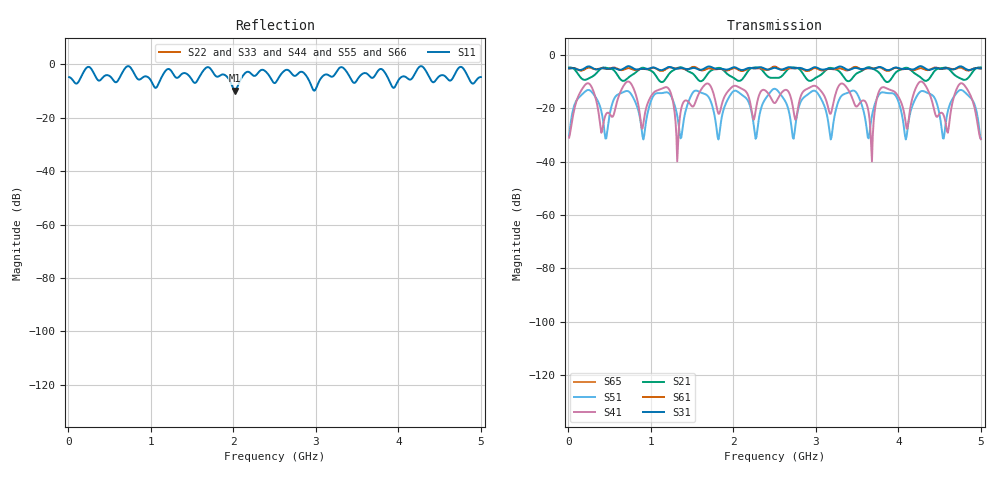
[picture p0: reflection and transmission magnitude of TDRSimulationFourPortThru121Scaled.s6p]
# MHz MA S R 50.0
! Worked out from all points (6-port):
!   500 points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, 10 MHz to 5 GHz, reference 50 ohm
!   strongest paths, dB at 10 MHz, 1.26 GHz, 2.51 GHz, 3.76 GHz, 5 GHz:
!     S31: -5.1, -4.9, -4.9, -4.6, -5.2
!     S61: -5.1, -4.9, -4.5, -4.7, -5.2
!     S21: -4.7, -6.1, -8.6, -6.5, -4.7
!     S41: -31.0, -16.3, -18.0, -14.2, -31.6
!     S51: -30.3, -16.4, -12.8, -15.2, -31.6
!     S65: -, -, -, -, -
!   lowest |S11| = -9.9 dB at 2.02 GHz (marker M1), VSWR 1.94, Z = 96.5 - j7 ohm
!   |S11| at or under -10 dB: nowhere
